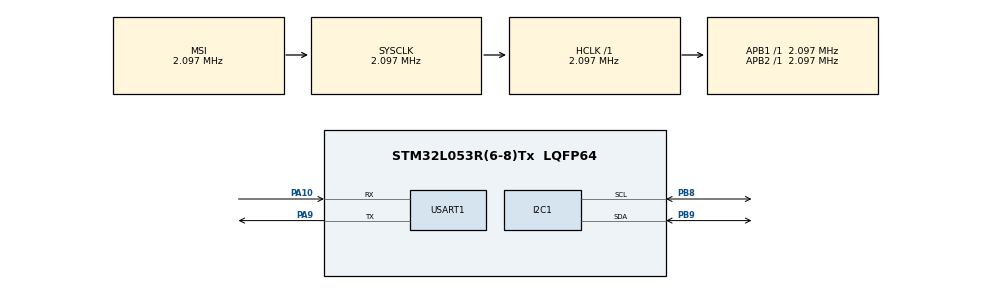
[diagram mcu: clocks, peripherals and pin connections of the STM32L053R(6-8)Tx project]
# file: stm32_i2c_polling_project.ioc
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I2C1.Timing=0x00000608
Mcu.Family=STM32L0
Mcu.Name=STM32L053R(6-8)Tx
Mcu.Package=LQFP64
PA10.Mode=Asynchronous
PA10.Signal=USART1_RX
PA9.Mode=Asynchronous
PA9.Signal=USART1_TX
PB8.Mode=I2C
PB8.Signal=I2C1_SCL
PB9.Mode=I2C
PB9.Signal=I2C1_SDA
ProjectManager.HeapSize=0x200
ProjectManager.StackSize=0x400
ProjectManager.TargetToolchain=STM32CubeIDE
RCC.AHBFreq_Value=2097000
RCC.APB1Freq_Value=2097000
RCC.APB1TimFreq_Value=2097000
RCC.APB2Freq_Value=2097000
RCC.APB2TimFreq_Value=2097000
RCC.HCLKFreq_Value=2097000
RCC.HSE_VALUE=8000000
RCC.HSI16_VALUE=16000000
RCC.HSI48_VALUE=48000000
RCC.HSI_VALUE=16000000
RCC.LSE_VALUE=32768
RCC.MSI_VALUE=2097000
RCC.SYSCLKFreq_VALUE=2097000
RCC.VCOOutputFreq_Value=48000000
USART1.VirtualMode-Asynchronous=VM_ASYNC
board=custom

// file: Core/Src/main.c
/* USER CODE BEGIN Header */
/**
  ******************************************************************************
  * @file           : main.c
  * @brief          : Main program body
  ******************************************************************************
  * @attention
  *
  * Copyright (c) 2025 STMicroelectronics.
  * All rights reserved.
  *
  * This software is licensed under terms that can be found in the LICENSE file
  * in the root directory of this software component.
  * If no LICENSE file comes with this software, it is provided AS-IS.
  *
  ******************************************************************************
  */
/* USER CODE END Header */
#include "main.h"

/* USER CODE BEGIN Includes */
#include <string.h>
#include <stdio.h>
/* USER CODE END Includes */

/* USER CODE BEGIN PD */

//	address of registers with auto-increment for multi-bytes

#define HTS221_ADDR 0xBE
#define HTS221_ADDR_CTRL1 0x20
#define HTS221_ADDR_T_OUT (0x2A | 0x80)
#define HTS221_ADDR_T0T1_OUT (0x3C | 0x80)
#define HTS221_ADDR_T0T1_degC_x8_LSB (0x32 | 0x80)
#define HTS221_ADDR_T0T1_MSB 0x35

#define HTS221_ADDR_H0H1_RH_X2 (0x30 | 0x80)
#define HTS221_ADDR_H_OUT (0x28 | 0x80)
#define HTS221_ADDR_H0_T0_OUT (0x36 | 0x80)
#define HTS221_ADDR_H1_T0_OUT (0x3A | 0x80)
//---------------------------------State----------------------------------------
#define POWER_DOWN 0x00
#define POWER_UP_CTRL1_1HZ 0x85

/* USER CODE END PD */

I2C_HandleTypeDef hi2c1;

UART_HandleTypeDef huart1;

/* USER CODE BEGIN PV */
int16_t T0_degC, T1_degC, T1_OUT, T0_OUT;
int16_t H0_rh, H1_rh, H0_T0_out, H1_T0_out;
/* USER CODE END PV */

void SystemClock_Config(void);
static void MX_GPIO_Init(void);
static void MX_I2C1_Init(void);
static void MX_USART1_UART_Init(void);

/* USER CODE BEGIN 0 */
HAL_StatusTypeDef HTS221_I2C_IT_Read_Reg(uint8_t reg_addr, uint16_t size, uint8_t *data) {
	HAL_StatusTypeDef res;

	res = HAL_I2C_Master_Transmit(&hi2c1, HTS221_ADDR, &reg_addr, 1, HAL_MAX_DELAY);
	if (res != HAL_OK) return res;

	res = HAL_I2C_Master_Receive(&hi2c1, HTS221_ADDR, data, size, HAL_MAX_DELAY);
	if (res != HAL_OK) return res;

	return res;
}

HAL_StatusTypeDef HTS221_I2C_IT_Write_Reg(uint8_t reg_addr, uint8_t data) {
	HAL_StatusTypeDef res;

	uint8_t buf[2] = {reg_addr, data};

	res = HAL_I2C_Master_Transmit(&hi2c1, HTS221_ADDR, buf, 2, HAL_MAX_DELAY);
	if (res != HAL_OK) return res;

	return res;
}

HAL_StatusTypeDef HTS221_Read_Temp_Coef(void) {
	HAL_StatusTypeDef res;
	uint8_t buf[4], T1T0_msb;
	int16_t T0_degC_x8, T1_degC_x8;

	//	reading fabric coefficient

	res = HTS221_I2C_IT_Read_Reg(HTS221_ADDR_T0T1_degC_x8_LSB, 2, buf);
	if (res != HAL_OK) return res;

	res = HTS221_I2C_IT_Read_Reg(HTS221_ADDR_T0T1_MSB, 1, &T1T0_msb);
	if (res != HAL_OK) return res;

	T0_degC_x8 = (((uint16_t)T1T0_msb & 0x03) << 8) | ((uint16_t)buf[0]);
	T1_degC_x8 = (((uint16_t)T1T0_msb & 0x0C) << 6) | ((uint16_t)buf[1]);

	T0_degC = T0_degC_x8 >> 3;
	T1_degC = T1_degC_x8 >> 3;

	res = HTS221_I2C_IT_Read_Reg(HTS221_ADDR_T0T1_OUT, 4, buf);
	if (res != HAL_OK) return res;

	T0_OUT = (((uint16_t)buf[1]) << 8) | (uint16_t)buf[0];
	T1_OUT = (((uint16_t)buf[3]) << 8) | (uint16_t)buf[2];

	return res;
}

HAL_StatusTypeDef HTS221_Read_Humi_Coef(void) {
	HAL_StatusTypeDef res;
	uint8_t buf[2];

	//	reading fabric coefficient

	res = HTS221_I2C_IT_Read_Reg(HTS221_ADDR_H0H1_RH_X2, 2, buf);
	if (res != HAL_OK) return res;

	H0_rh = buf[0] >> 1;
	H1_rh = buf[1] >> 1;

	res = HTS221_I2C_IT_Read_Reg(HTS221_ADDR_H0_T0_OUT, 2, buf);
	if (res != HAL_OK) return res;

	H0_T0_out = (uint16_t)(buf[1] << 8) | (uint16_t)buf[0];

	res = HTS221_I2C_IT_Read_Reg(HTS221_ADDR_H1_T0_OUT, 2, buf);
	if (res != HAL_OK) return res;

	H1_T0_out = (uint16_t)(buf[1] << 8) | (uint16_t)buf[0];

	return res;
}

int16_t getTemperature(void) {
	HAL_StatusTypeDef res;
	uint8_t buf[2];
	int16_t T_OUT;
	int32_t T_degC;
	int16_t temp;

	//	read raw data

	res = HTS221_I2C_IT_Read_Reg(HTS221_ADDR_T_OUT, 2, buf);
	if (res != HAL_OK) return res;

	T_OUT = (((uint16_t)buf[1]) << 8) | (uint16_t)buf[0];

	//	counting temperature

	T_degC = ((int32_t)(T_OUT - T0_OUT)) * ((int32_t)(T1_degC - T0_degC) * 10);
	temp = (T_degC / (T1_OUT - T0_OUT) + T0_degC * 10) / 10;

	return temp;
}

int16_t getHumidity(void) {
	HAL_StatusTypeDef res;
	uint8_t buf[2];
	int32_t H_rh;
	int16_t hum;
	int16_t H_T_out;

	//	read raw data

	res = HTS221_I2C_IT_Read_Reg(HTS221_ADDR_H_OUT, 2, buf);
	if (res != HAL_OK) return res;

	H_T_out = (((uint16_t)buf[1]) << 8) | (uint16_t)buf[0];

	//	counting humidity

	H_rh = ((int32_t)(H_T_out - H0_T0_out)) * ((int32_t)(H1_rh - H0_rh) * 10);
	hum = ((uint16_t)(H_rh / (H1_T0_out - H0_T0_out) + H0_rh * 10)) / 10;

	//	in case of overflow

	if(hum > 100) hum = 100;

	return hum;
}

HAL_StatusTypeDef HTS221_Init(void) {
	HAL_StatusTypeDef res;

	res =  HTS221_I2C_IT_Write_Reg(HTS221_ADDR_CTRL1, POWER_DOWN);
	if (res != HAL_OK) return res;

	res = HTS221_I2C_IT_Write_Reg(HTS221_ADDR_CTRL1, POWER_UP_CTRL1_1HZ);
	if (res != HAL_OK) return res;

	return res;
}
/* USER CODE END 0 */

int main(void)
{

  /* MCU Configuration--------------------------------------------------------*/

  /* Reset of all peripherals, Initializes the Flash interface and the Systick. */
  HAL_Init();

  /* Configure the system clock */
  SystemClock_Config();

  /* Initialize all configured peripherals */
  MX_GPIO_Init();
  MX_I2C1_Init();
  MX_USART1_UART_Init();
  /* USER CODE BEGIN 2 */
  HAL_StatusTypeDef res;
  uint8_t buf[50];

  //	HTS221 initialization

  res = HTS221_Init();
  if (res != HAL_OK) return res;

  //	reading fabric coefficient

  res = HTS221_Read_Temp_Coef();
  if (res != HAL_OK) return res;

  res = HTS221_Read_Humi_Coef();
  if (res != HAL_OK) return res;

  /* USER CODE END 2 */

  /* Infinite loop */
  /* USER CODE BEGIN WHILE */
  while (1)
  {
	  sprintf((char *)buf, "Temperature: %dC\r\nHumidity: %d%%\r\n", getTemperature(), getHumidity());
	  HAL_UART_Transmit(&huart1, buf, strlen((char *)buf), HAL_MAX_DELAY);

	  HAL_Delay(500);
    /* USER CODE END WHILE */

  }
}

void SystemClock_Config(void)
{
  RCC_OscInitTypeDef RCC_OscInitStruct = {0};
  RCC_ClkInitTypeDef RCC_ClkInitStruct = {0};
  RCC_PeriphCLKInitTypeDef PeriphClkInit = {0};

  /** Configure the main internal regulator output voltage
  */
  __HAL_PWR_VOLTAGESCALING_CONFIG(PWR_REGULATOR_VOLTAGE_SCALE1);

  /** Initializes the RCC Oscillators according to the specified parameters
  * in the RCC_OscInitTypeDef structure.
  */
  RCC_OscInitStruct.OscillatorType = RCC_OSCILLATORTYPE_MSI;
  RCC_OscInitStruct.MSIState = RCC_MSI_ON;
  RCC_OscInitStruct.MSICalibrationValue = 0;
  RCC_OscInitStruct.MSIClockRange = RCC_MSIRANGE_5;
  RCC_OscInitStruct.PLL.PLLState = RCC_PLL_NONE;
  if (HAL_RCC_OscConfig(&RCC_OscInitStruct) != HAL_OK)
  {
    Error_Handler();
  }

  /** Initializes the CPU, AHB and APB buses clocks
  */
  RCC_ClkInitStruct.ClockType = RCC_CLOCKTYPE_HCLK|RCC_CLOCKTYPE_SYSCLK
                              |RCC_CLOCKTYPE_PCLK1|RCC_CLOCKTYPE_PCLK2;
  RCC_ClkInitStruct.SYSCLKSource = RCC_SYSCLKSOURCE_MSI;
  RCC_ClkInitStruct.AHBCLKDivider = RCC_SYSCLK_DIV1;
  RCC_ClkInitStruct.APB1CLKDivider = RCC_HCLK_DIV1;
  RCC_ClkInitStruct.APB2CLKDivider = RCC_HCLK_DIV1;

  if (HAL_RCC_ClockConfig(&RCC_ClkInitStruct, FLASH_LATENCY_0) != HAL_OK)
  {
    Error_Handler();
  }
  PeriphClkInit.PeriphClockSelection = RCC_PERIPHCLK_USART1|RCC_PERIPHCLK_I2C1;
  PeriphClkInit.Usart1ClockSelection = RCC_USART1CLKSOURCE_PCLK2;
  PeriphClkInit.I2c1ClockSelection = RCC_I2C1CLKSOURCE_PCLK1;
  if (HAL_RCCEx_PeriphCLKConfig(&PeriphClkInit) != HAL_OK)
  {
    Error_Handler();
  }
}

static void MX_I2C1_Init(void)
{

  hi2c1.Instance = I2C1;
  hi2c1.Init.Timing = 0x00000608;
  hi2c1.Init.OwnAddress1 = 0;
  hi2c1.Init.AddressingMode = I2C_ADDRESSINGMODE_7BIT;
  hi2c1.Init.DualAddressMode = I2C_DUALADDRESS_DISABLE;
  hi2c1.Init.OwnAddress2 = 0;
  hi2c1.Init.OwnAddress2Masks = I2C_OA2_NOMASK;
  hi2c1.Init.GeneralCallMode = I2C_GENERALCALL_DISABLE;
  hi2c1.Init.NoStretchMode = I2C_NOSTRETCH_DISABLE;
  if (HAL_I2C_Init(&hi2c1) != HAL_OK)
  {
    Error_Handler();
  }

  /** Configure Analogue filter
  */
  if (HAL_I2CEx_ConfigAnalogFilter(&hi2c1, I2C_ANALOGFILTER_ENABLE) != HAL_OK)
  {
    Error_Handler();
  }

  /** Configure Digital filter
  */
  if (HAL_I2CEx_ConfigDigitalFilter(&hi2c1, 0) != HAL_OK)
  {
    Error_Handler();
  }

}

static void MX_USART1_UART_Init(void)
{

  huart1.Instance = USART1;
  huart1.Init.BaudRate = 115200;
  huart1.Init.WordLength = UART_WORDLENGTH_8B;
  huart1.Init.StopBits = UART_STOPBITS_1;
  huart1.Init.Parity = UART_PARITY_NONE;
  huart1.Init.Mode = UART_MODE_TX_RX;
  huart1.Init.HwFlowCtl = UART_HWCONTROL_NONE;
  huart1.Init.OverSampling = UART_OVERSAMPLING_16;
  huart1.Init.OneBitSampling = UART_ONE_BIT_SAMPLE_DISABLE;
  huart1.AdvancedInit.AdvFeatureInit = UART_ADVFEATURE_NO_INIT;
  if (HAL_UART_Init(&huart1) != HAL_OK)
  {
    Error_Handler();
  }

}

static void MX_GPIO_Init(void)
{

  /* GPIO Ports Clock Enable */
  __HAL_RCC_GPIOA_CLK_ENABLE();
  __HAL_RCC_GPIOB_CLK_ENABLE();

}

void Error_Handler(void)
{
  __disable_irq();
  while (1)
  {
  }
}
